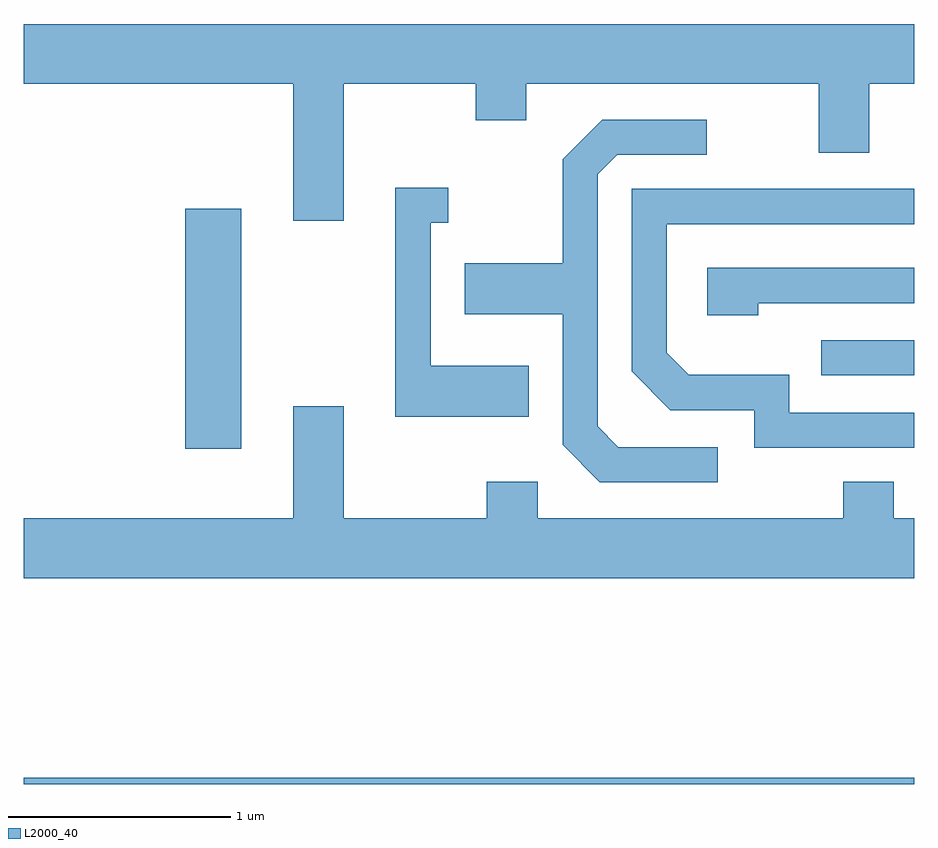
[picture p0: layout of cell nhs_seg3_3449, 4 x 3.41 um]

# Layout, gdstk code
import gdstk
lib = gdstk.Library(unit=1e-6, precision=1e-09)
def R(c, l, rs):  # rectangles x0, y0, x1, y1
    for r in rs: c.add(gdstk.rectangle(r[:2], r[2:], *l))
def P(c, l, *ps):  # polygons
    for p in ps: c.add(gdstk.Polygon(p, *l))
L2000_40 = (2000, 40)

nhs_seg3_3449 = lib.new_cell('nhs_seg3_3449')
R(nhs_seg3_3449, L2000_40, [(285.611,1213.892,289.611,1213.919), (286.336,1215.396,286.589,1216.474), (289.193,1215.726,289.611,1215.884)])
P(nhs_seg3_3449, L2000_40, [(287.049,1217.036),(287.641,1217.036),(287.641,1216.871),(287.869,1216.871),(287.869,1217.036),(289.181,1217.036),(289.181,1216.726),(289.409,1216.726),(289.409,1217.036),(289.611,1217.036),(289.611,1217.304),(285.611,1217.304),(285.611,1217.036),(286.821,1217.036),(286.821,1216.421),(287.049,1216.421)],
  [(288.728,1215.404),(288.282,1215.404),(288.189,1215.497),(288.189,1216.629),(288.277,1216.716),(288.678,1216.716),(288.678,1216.874),(288.209,1216.874),(288.031,1216.697),(288.031,1216.229),(287.591,1216.229),(287.591,1216.001),(288.031,1216.001),(288.031,1215.414),(288.199,1215.246),(288.728,1215.246)],
  [(287.879,1215.769),(287.439,1215.769),(287.439,1216.411),(287.518,1216.411),(287.518,1216.569),(287.281,1216.569),(287.281,1215.541),(287.879,1215.541)],
  [(289.611,1215.559),(289.049,1215.559),(289.049,1215.729),(288.597,1215.729),(288.499,1215.827),(288.499,1216.406),(289.611,1216.406),(289.611,1216.564),(288.341,1216.564),(288.341,1215.744),(288.514,1215.571),(288.891,1215.571),(288.891,1215.401),(289.611,1215.401)],
  [(288.909,1216.051),(289.611,1216.051),(289.611,1216.209),(288.681,1216.209),(288.681,1215.996),(288.909,1215.996)],
  [(289.611,1215.084),(289.519,1215.084),(289.519,1215.249),(289.291,1215.249),(289.291,1215.084),(287.919,1215.084),(287.919,1215.249),(287.691,1215.249),(287.691,1215.084),(287.049,1215.084),(287.049,1215.589),(286.821,1215.589),(286.821,1215.084),(285.611,1215.084),(285.611,1214.816),(289.611,1214.816)])

lib.write_gds('nhs_seg3_3449.gds')
